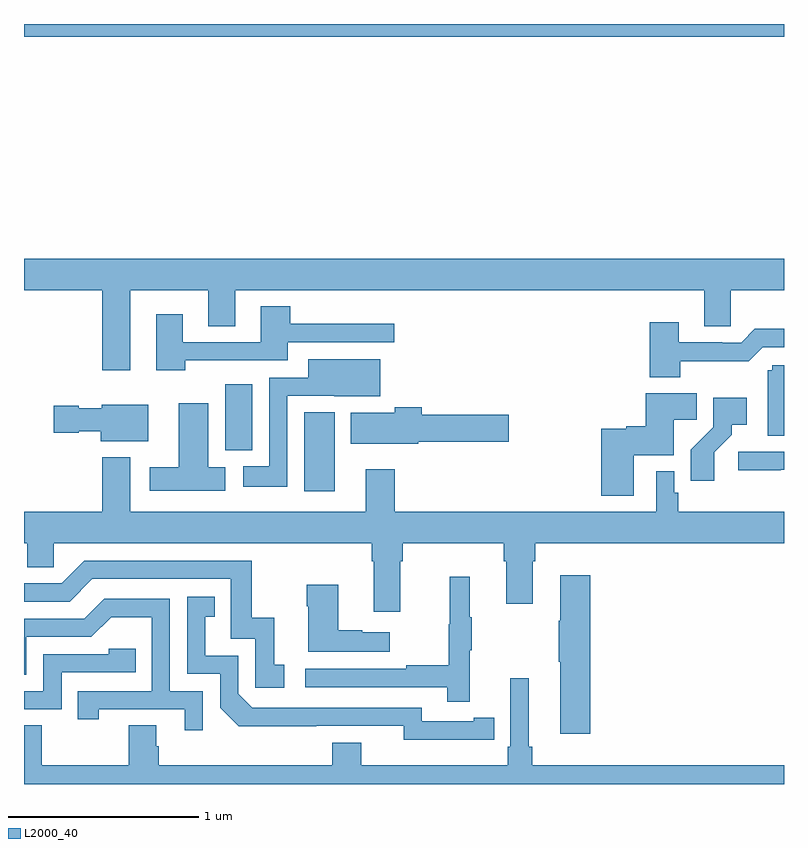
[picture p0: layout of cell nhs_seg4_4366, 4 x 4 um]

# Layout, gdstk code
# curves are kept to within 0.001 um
import gdstk
lib = gdstk.Library(unit=1e-6, precision=1e-09)
def R(c, l, rs):  # rectangles x0, y0, x1, y1
    for r in rs: c.add(gdstk.rectangle(r[:2], r[2:], *l))
def P(c, l, *ps):  # polygons
    for p in ps: c.add(gdstk.Polygon(p, *l))
L2000_40 = (2000, 40)

nhs_seg4_4366 = lib.new_cell('nhs_seg4_4366')
R(nhs_seg4_4366, L2000_40, [(346.475,782.442,346.636,782.857), (346.058,782.657,346.201,783.004), (345,784.832,349,784.9)])
P(nhs_seg4_4366, L2000_40, [(345.559,783.5),(345.971,783.5),(345.971,783.31),(346.111,783.31),(346.111,783.5),(348.581,783.5),(348.581,783.31),(348.72,783.31),(348.72,783.5),(349,783.5),(349,783.664),(345,783.664),(345,783.5),(345.412,783.5),(345.412,783.078),(345.559,783.078)],
  [(345.848,783.129),(346.387,783.129),(346.387,783.225),(346.948,783.225),(346.948,783.322),(346.4,783.322),(346.4,783.415),(346.247,783.415),(346.247,783.225),(345.835,783.225),(345.835,783.373),(345.695,783.373),(345.695,783.078),(345.848,783.078)],
  [(348.453,783.126),(348.815,783.125),(348.888,783.198),(349,783.198),(349,783.295),(348.847,783.295),(348.774,783.222),(348.674,783.222),(348.674,783.225),(348.445,783.225),(348.445,783.331),(348.293,783.331),(348.293,783.041),(348.453,783.041)],
  [(346.386,782.943),(346.632,782.943),(346.632,782.942),(346.876,782.942),(346.876,783.136),(346.496,783.136),(346.496,783.039),(346.29,783.039),(346.29,782.572),(346.155,782.572),(346.155,782.465),(346.386,782.465)],
  [(349,783.105),(348.939,783.105),(348.939,783.078),(348.914,783.078),(348.914,782.734),(349,782.734)],
  [(348.208,782.63),(348.421,782.63),(348.421,782.818),(348.542,782.818),(348.542,782.956),(348.272,782.956),(348.272,782.783),(348.171,782.783),(348.171,782.77),(348.038,782.77),(348.038,782.418),(348.208,782.418)],
  [(348.634,782.647),(348.724,782.737),(348.724,782.792),(348.805,782.792),(348.805,782.932),(348.627,782.932),(348.627,782.777),(348.508,782.658),(348.508,782.496),(348.634,782.496)],
  [(346.06,782.566),(345.97,782.566),(345.97,782.905),(345.815,782.905),(345.815,782.566),(345.663,782.566),(345.663,782.444),(346.06,782.444)],
  [(345.655,782.896),(345.408,782.896),(345.408,782.878),(345.288,782.878),(345.288,782.891),(345.156,782.891),(345.156,782.749),(345.288,782.749),(345.288,782.756),(345.404,782.756),(345.404,782.705),(345.655,782.705)],
  [(347.076,782.701),(347.551,782.701),(347.551,782.843),(347.093,782.843),(347.093,782.884),(346.951,782.884),(346.951,782.854),(346.721,782.854),(346.721,782.69),(347.076,782.69)],
  [(348.983,782.553),(349,782.553),(349,782.649),(348.759,782.649),(348.759,782.551),(348.983,782.551)],
  [(348.327,782.545),(348.327,782.332),(346.952,782.332),(346.952,782.557),(346.799,782.557),(346.799,782.332),(345.559,782.332),(345.559,782.62),(345.412,782.62),(345.412,782.332),(345,782.332),(345,782.168),(345.017,782.168),(345.017,782.041),(345.156,782.041),(345.156,782.168),(346.829,782.168),(346.829,782.072),(346.841,782.072),(346.841,781.806),(346.981,781.806),(346.981,782.072),(346.994,782.072),(346.994,782.168),(347.525,782.168),(347.525,782.072),(347.537,782.072),(347.537,781.848),(347.677,781.848),(347.677,782.072),(347.69,782.072),(347.69,782.168),(349,782.168),(349,782.332),(348.443,782.332),(348.443,782.433),(348.423,782.433),(348.423,782.545)],
  [(346.369,781.527),(346.316,781.527),(346.316,781.774),(346.198,781.774),(346.198,782.076),(345.318,782.076),(345.198,781.956),(345,781.956),(345,781.86),(345.24,781.86),(345.36,781.98),(346.089,781.98),(346.089,781.665),(346.218,781.665),(346.218,781.407),(346.369,781.407)],
  [(347.981,781.999),(347.822,781.999),(347.822,781.76),(347.815,781.76),(347.815,781.543),(347.822,781.543),(347.822,781.164),(347.981,781.164)],
  [(347.345,781.603),(347.356,781.603),(347.356,781.777),(347.345,781.777),(347.345,781.99),(347.242,781.99),(347.242,781.74),(347.235,781.74),(347.235,781.526),(347.011,781.526),(347.011,781.506),(346.479,781.506),(346.479,781.41),(347.227,781.41),(347.227,781.332),(347.345,781.332)],
  [(346.924,781.699),(346.781,781.699),(346.781,781.709),(346.654,781.709),(346.654,781.948),(346.489,781.948),(346.489,781.835),(346.496,781.835),(346.496,781.595),(346.924,781.595)],
  [(347.366,781.134),(347.474,781.134),(347.474,781.25),(347.366,781.25),(347.366,781.23),(347.094,781.23),(347.094,781.302),(346.2,781.302),(346.128,781.374),(346.128,781.575),(345.955,781.575),(345.955,781.779),(346.004,781.779),(346.004,781.885),(345.858,781.885),(345.858,781.479),(346.032,781.479),(346.032,781.302),(346.13,781.205),(346.998,781.206),(346.998,781.133)],
  [(345.942,781.389),(345.768,781.389),(345.768,781.875),(345.422,781.875),(345.317,781.77),(345,781.77),(345,781.476),(345.012,781.476),(345.012,781.674),(345.354,781.674),(345.458,781.778),(345.672,781.778),(345.672,781.389),(345.283,781.389),(345.283,781.242),(345.394,781.242),(345.394,781.293),(345.845,781.293),(345.845,781.182),(345.942,781.182)],
  [(345.198,781.488),(345.587,781.488),(345.587,781.611),(345.447,781.611),(345.447,781.584),(345.102,781.584),(345.102,781.389),(345,781.389),(345,781.293),(345.198,781.293)],
  [(345.093,781.208),(345,781.208),(345,780.9),(349,780.9),(349,781),(347.675,781),(347.675,781.096),(347.656,781.096),(347.656,781.456),(347.559,781.456),(347.559,781.096),(347.546,781.096),(347.546,781),(346.774,781),(346.774,781.117),(346.622,781.117),(346.622,781),(345.71,781),(345.71,781.098),(345.697,781.098),(345.697,781.208),(345.55,781.208),(345.55,781),(345.093,781)])

lib.write_gds('nhs_seg4_4366.gds')
